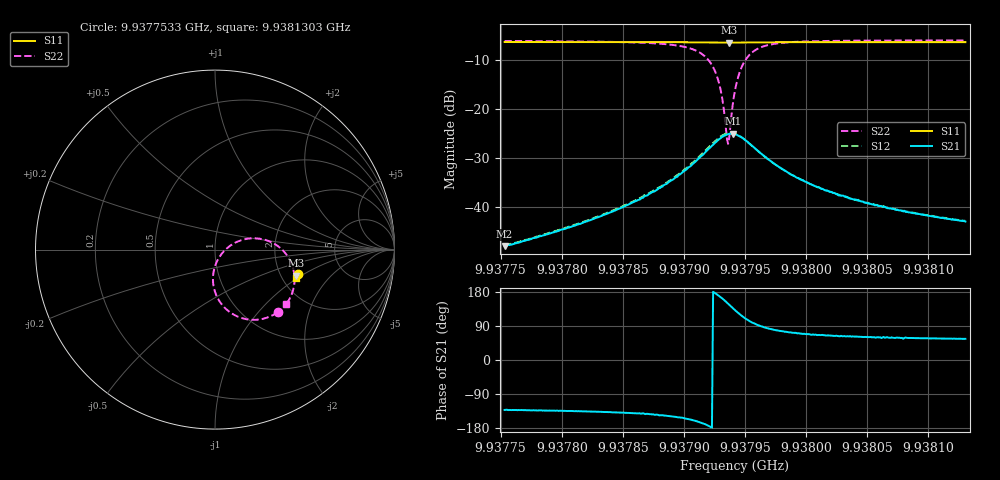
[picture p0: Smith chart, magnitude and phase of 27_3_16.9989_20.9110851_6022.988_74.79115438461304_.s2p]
#  HZ  S  RI  R  50.00
! Rohde & Schwarz Vector Network Analyzer
! Rohde-Schwarz,ZNB20-2Port,1311601062101988,3.16
! Created: UTC 3/20/2024, 10:53:15 PM
! freq[Hz]  re:S11  im:S11  re:S21  im:S21  re:S12  im:S12  re:S22  im:S22
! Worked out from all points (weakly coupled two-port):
!   401 points, 9.9377533 GHz to 9.9381303 GHz, reference 50 ohm
!   highest |S21| = -25.07 dB at 9.9379399 GHz (marker M1); lowest = -48.0 dB at 9.9377533 GHz (marker M2)
!   lowest |S11| = -6.5 dB at 9.9379371 GHz (marker M3), VSWR 2.80, Z = 120 - j44.9 ohm
!   |S11| at or under -10 dB: nowhere
!   |S22| runs from -27.1 to -6.0 dB; largest |S21 - S12| = 0.0038
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9.93775326e9  0.462 -0.1356  -0.00264 -0.00295  -0.00273 -0.00296  0.349 -0.3485
9.93781641e9  0.4601 -0.14  -0.00484 -0.00478  -0.00504 -0.00479  0.3253 -0.3636
9.93785129e9  0.4591 -0.1425  -0.00763 -0.00662  -0.00793 -0.00664  0.2984 -0.3761
9.93787957e9  0.4576 -0.1449  -0.0129 -0.00866  -0.0131 -0.00879  0.2535 -0.3886
9.93790596e9  0.4556 -0.1469  -0.0244 -0.01  -0.0257 -0.00983  0.1514 -0.3822
9.9379201e9  0.4537 -0.1475  -0.0386 -0.00428  -0.0404 -0.00304  0.0428 -0.3115
9.93792387e9  0.4529 -0.1474  -0.043 1.61e-05  -0.0449 0.00197  0.0127 -0.266
9.93792764e9  0.4521 -0.1469  -0.0471 0.00696  -0.0486 0.00938  -0.00823 -0.2034
9.93793047e9  0.4518 -0.1464  -0.0489 0.0135  -0.0503 0.0165  -0.0108 -0.1462
9.93793518e9  0.4514 -0.1451  -0.0481 0.026  -0.0479 0.0297  0.0226 -0.0443
9.93793613e9  0.4515 -0.1448  -0.0472 0.0287  -0.0467 0.0324  0.0357 -0.0255
9.93793707e9  0.4515 -0.1445  -0.0459 0.031  -0.045 0.0346  0.0503 -0.00816
9.9379399e9  0.4519 -0.1438  -0.041 0.0379  -0.0392 0.041  0.1046 0.0344
9.93794178e9  0.4524 -0.1436  -0.0366 0.041  -0.0346 0.044  0.1452 0.0519
9.93794461e9  0.4528 -0.1432  -0.0293 0.0443  -0.0269 0.0466  0.2074 0.0631
9.93794838e9  0.4539 -0.1431  -0.0203 0.0457  -0.0177 0.0468  0.2812 0.0538
9.93795781e9  0.4557 -0.144  -0.00431 0.0396  -0.0025 0.0397  0.3932 -0.0215
9.9379776e9  0.4567 -0.1467  0.00559 0.0249  0.00633 0.0246  0.443 -0.1512
9.93800494e9  0.4564 -0.1496  0.00652 0.0154  0.00684 0.0153  0.4345 -0.2276
9.93803793e9  0.4555 -0.1523  0.00558 0.0106  0.00586 0.0105  0.4197 -0.2662
9.93806809e9  0.4545 -0.1546  0.00498 0.00823  0.0053 0.00822  0.4094 -0.2844
9.93813031e9  0.4531 -0.1589  0.00396 0.00585  0.00413 0.00588  0.3954 -0.305
